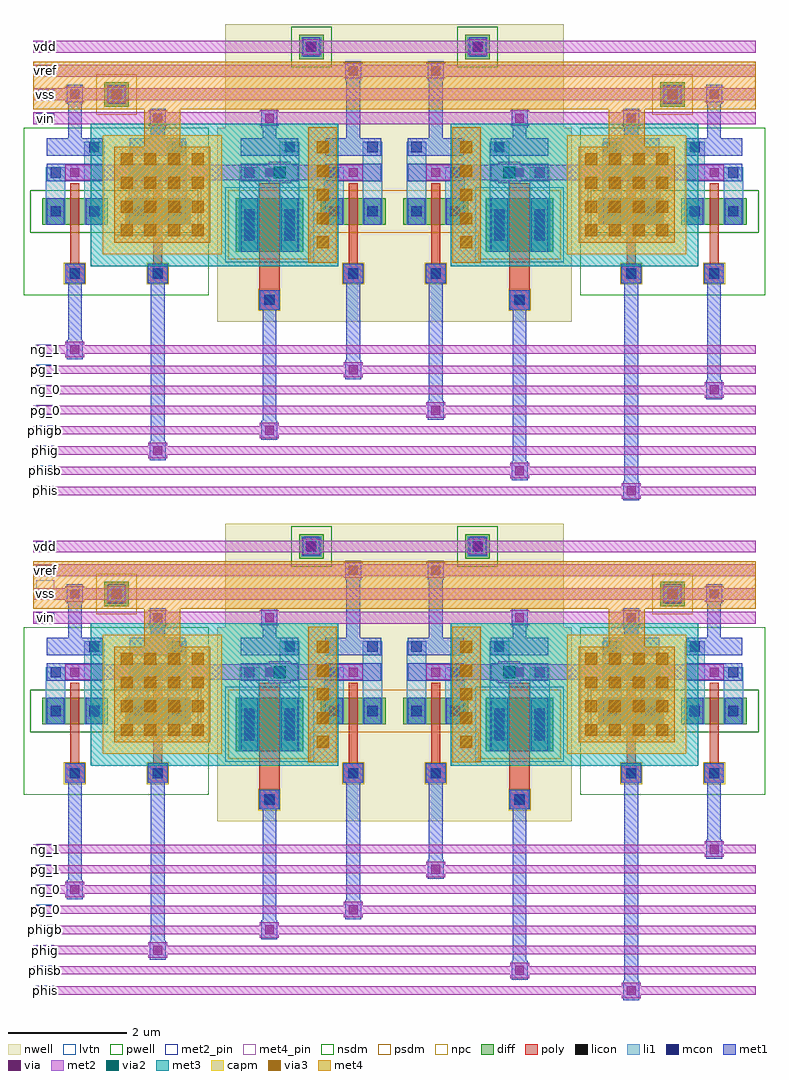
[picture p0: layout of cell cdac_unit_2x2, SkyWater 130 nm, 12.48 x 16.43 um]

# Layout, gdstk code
import gdstk
lib = gdstk.Library(unit=1e-6, precision=5e-09)
def R(c, l, rs):  # rectangles x0, y0, x1, y1
    for r in rs: c.add(gdstk.rectangle(r[:2], r[2:], *l))
def A(c, l, x, y, w, h, nx, ny, dx, dy):  # array of equal rectangles
    R(c, l, [(x+i*dx, y+j*dy, x+i*dx+w, y+j*dy+h) for i in range(nx) for j in range(ny)])
nwell = (64, 20)
pwell = (64, 44)
diff = (65, 20)
poly = (66, 20)
licon = (66, 44)
li1 = (67, 20)
mcon = (67, 44)
met1 = (68, 20)
via = (68, 44)
met2_pin = (69, 16)
met2 = (69, 20)
via2 = (69, 44)
met3 = (70, 20)
via3 = (70, 44)
met4_pin = (71, 16)
met4 = (71, 20)
capm = (89, 44)
nsdm = (93, 44)
psdm = (94, 20)
npc = (95, 20)
lvtn = (125, 44)

cdac_unit_2x2 = lib.new_cell('cdac_unit_2x2')
R(cdac_unit_2x2, nwell, [(3.1,3.1,4.85,6.365), (3.23,3.1,6.08,8.11), (6.08,3.1,8.93,8.11), (7.31,3.1,9.06,6.365), (4.525,3.545,6.245,6.365), (5.915,3.545,7.635,6.365), (3.1,11.51,4.85,14.775), (3.23,11.51,6.08,16.52), (6.08,11.51,8.93,16.52), (7.31,11.51,9.06,14.775), (4.525,11.955,6.245,14.775), (5.915,11.955,7.635,14.775)])
R(cdac_unit_2x2, pwell, [(-0.16,3.545,1.56,6.365), (1.235,3.545,2.955,6.365), (9.205,3.545,10.925,6.365), (10.6,3.545,12.32,6.365), (-0.16,11.955,1.56,14.775), (1.235,11.955,2.955,14.775), (9.205,11.955,10.925,14.775), (10.6,11.955,12.32,14.775)])
R(cdac_unit_2x2, diff, [(3.41,4.28,4.54,5.18), (7.62,4.28,8.75,5.18), (0.15,4.73,1.25,5.18), (1.545,4.73,2.645,5.18), (4.835,4.73,5.935,5.18), (6.225,4.73,7.325,5.18), (9.515,4.73,10.615,5.18), (10.91,4.73,12.01,5.18), (1.195,6.72,1.605,7.13), (10.555,6.72,10.965,7.13), (4.475,7.52,4.885,7.93), (7.275,7.52,7.685,7.93), (3.41,12.69,4.54,13.59), (7.62,12.69,8.75,13.59), (0.15,13.14,1.25,13.59), (1.545,13.14,2.645,13.59), (4.835,13.14,5.935,13.59), (6.225,13.14,7.325,13.59), (9.515,13.14,10.615,13.59), (10.91,13.14,12.01,13.59), (1.195,15.13,1.605,15.54), (10.555,15.13,10.965,15.54), (4.475,15.93,4.885,16.34), (7.275,15.93,7.685,16.34)])
R(cdac_unit_2x2, poly, [(3.8,3.3,4.15,3.63), (3.81,3.3,4.14,3.63), (8.01,3.3,8.36,3.63), (8.02,3.3,8.35,3.63), (3.8,3.63,4.15,4.03), (8.01,3.63,8.36,4.03), (0.535,3.745,0.865,4.075), (0.535,3.745,0.865,4.075), (1.93,3.745,2.26,4.075), (1.93,3.745,2.26,4.075), (5.22,3.745,5.55,4.075), (5.22,3.745,5.55,4.075), (6.61,3.745,6.94,4.075), (6.61,3.745,6.94,4.075), (9.9,3.745,10.23,4.075), (9.9,3.745,10.23,4.075), (11.295,3.745,11.625,4.075), (11.295,3.745,11.625,4.075), (3.8,4.03,4.15,5.43), (8.01,4.03,8.36,5.43), (0.625,4.075,0.775,4.48), (2.02,4.075,2.17,4.48), (5.31,4.075,5.46,4.48), (6.7,4.075,6.85,4.48), (9.99,4.075,10.14,4.48), (11.385,4.075,11.535,4.48), (0.625,4.48,0.775,5.43), (2.02,4.48,2.17,5.43), (5.31,4.48,5.46,5.43), (6.7,4.48,6.85,5.43), (9.99,4.48,10.14,5.43), (11.385,4.48,11.535,5.43), (3.8,11.71,4.15,12.04), (3.81,11.71,4.14,12.04), (8.01,11.71,8.36,12.04), (8.02,11.71,8.35,12.04), (3.8,12.04,4.15,12.44), (8.01,12.04,8.36,12.44), (0.535,12.155,0.865,12.485), (0.535,12.155,0.865,12.485), (1.93,12.155,2.26,12.485), (1.93,12.155,2.26,12.485), (5.22,12.155,5.55,12.485), (5.22,12.155,5.55,12.485), (6.61,12.155,6.94,12.485), (6.61,12.155,6.94,12.485), (9.9,12.155,10.23,12.485), (9.9,12.155,10.23,12.485), (11.295,12.155,11.625,12.485), (11.295,12.155,11.625,12.485), (3.8,12.44,4.15,13.84), (8.01,12.44,8.36,13.84), (0.625,12.485,0.775,12.89), (2.02,12.485,2.17,12.89), (5.31,12.485,5.46,12.89), (6.7,12.485,6.85,12.89), (9.99,12.485,10.14,12.89), (11.385,12.485,11.535,12.89), (0.625,12.89,0.775,13.84), (2.02,12.89,2.17,13.84), (5.31,12.89,5.46,13.84), (6.7,12.89,6.85,13.84), (9.99,12.89,10.14,13.84), (11.385,12.89,11.535,13.84)])
R(cdac_unit_2x2, licon, [(3.89,3.38,4.06,3.55), (8.1,3.38,8.27,3.55), (0.615,3.825,0.785,3.995), (2.01,3.825,2.18,3.995), (5.3,3.825,5.47,3.995), (6.69,3.825,6.86,3.995), (9.98,3.825,10.15,3.995), (11.375,3.825,11.545,3.995), (3.55,4.645,3.72,4.815), (4.23,4.645,4.4,4.815), (7.76,4.645,7.93,4.815), (8.44,4.645,8.61,4.815), (0.29,4.87,0.46,5.04), (0.94,4.87,1.11,5.04), (1.685,4.87,1.855,5.04), (2.335,4.87,2.505,5.04), (4.975,4.87,5.145,5.04), (5.625,4.87,5.795,5.04), (6.365,4.87,6.535,5.04), (7.015,4.87,7.185,5.04), (9.655,4.87,9.825,5.04), (10.305,4.87,10.475,5.04), (11.05,4.87,11.22,5.04), (11.7,4.87,11.87,5.04), (1.315,6.84,1.485,7.01), (10.675,6.84,10.845,7.01), (4.595,7.64,4.765,7.81), (7.395,7.64,7.565,7.81), (3.89,11.79,4.06,11.96), (8.1,11.79,8.27,11.96), (0.615,12.235,0.785,12.405), (2.01,12.235,2.18,12.405), (5.3,12.235,5.47,12.405), (6.69,12.235,6.86,12.405), (9.98,12.235,10.15,12.405), (11.375,12.235,11.545,12.405), (3.55,13.055,3.72,13.225), (4.23,13.055,4.4,13.225), (7.76,13.055,7.93,13.225), (8.44,13.055,8.61,13.225), (0.29,13.28,0.46,13.45), (0.94,13.28,1.11,13.45), (1.685,13.28,1.855,13.45), (2.335,13.28,2.505,13.45), (4.975,13.28,5.145,13.45), (5.625,13.28,5.795,13.45), (6.365,13.28,6.535,13.45), (7.015,13.28,7.185,13.45), (9.655,13.28,9.825,13.45), (10.305,13.28,10.475,13.45), (11.05,13.28,11.22,13.45), (11.7,13.28,11.87,13.45), (1.315,15.25,1.485,15.42), (10.675,15.25,10.845,15.42), (4.595,16.05,4.765,16.22), (7.395,16.05,7.565,16.22)])
R(cdac_unit_2x2, li1, [(3.81,3.3,4.14,3.63), (8.02,3.3,8.35,3.63), (0.535,3.745,0.865,4.075), (1.93,3.745,2.26,4.075), (5.22,3.745,5.55,4.075), (6.61,3.745,6.94,4.075), (9.9,3.745,10.23,4.075), (11.295,3.745,11.625,4.075), (3.47,4.28,3.8,5.18), (4.15,4.28,4.48,5.18), (7.68,4.28,8.01,5.18), (8.36,4.28,8.69,5.18), (3.55,4.465,3.72,4.635), (3.55,4.465,3.72,4.995), (4.23,4.465,4.4,4.635), (4.23,4.465,4.4,4.995), (7.76,4.465,7.93,4.635), (7.76,4.465,7.93,4.995), (8.44,4.465,8.61,4.635), (8.44,4.465,8.61,4.995), (3.47,4.565,3.8,4.895), (4.15,4.565,4.48,4.895), (7.68,4.565,8.01,4.895), (8.36,4.565,8.69,4.895), (0.21,4.73,0.54,5.18), (0.86,4.73,1.19,5.18), (1.605,4.73,1.935,5.18), (2.255,4.73,2.585,5.18), (4.895,4.73,5.225,5.18), (5.545,4.73,5.875,5.18), (6.285,4.73,6.615,5.18), (6.935,4.73,7.265,5.18), (9.575,4.73,9.905,5.18), (10.225,4.73,10.555,5.18), (10.97,4.73,11.3,5.18), (11.62,4.73,11.95,5.18), (0.21,4.79,0.54,5.12), (0.86,4.79,1.19,5.12), (1.605,4.79,1.935,5.12), (2.255,4.79,2.585,5.12), (4.895,4.79,5.225,5.12), (5.545,4.79,5.875,5.12), (6.285,4.79,6.615,5.12), (6.935,4.79,7.265,5.12), (9.575,4.79,9.905,5.12), (10.225,4.79,10.555,5.12), (10.97,4.79,11.3,5.12), (11.62,4.79,11.95,5.12), (3.55,4.825,3.72,4.995), (4.23,4.825,4.4,4.995), (7.76,4.825,7.93,4.995), (8.44,4.825,8.61,4.995), (0.29,4.87,0.46,5.04), (0.29,4.87,0.46,5.04), (0.94,4.87,1.11,5.04), (0.94,4.87,1.11,5.04), (1.685,4.87,1.855,5.04), (1.685,4.87,1.855,5.04), (2.335,4.87,2.505,5.04), (2.335,4.87,2.505,5.04), (4.975,4.87,5.145,5.04), (4.975,4.87,5.145,5.04), (5.625,4.87,5.795,5.04), (5.625,4.87,5.795,5.04), (6.365,4.87,6.535,5.04), (6.365,4.87,6.535,5.04), (7.015,4.87,7.185,5.04), (7.015,4.87,7.185,5.04), (9.655,4.87,9.825,5.04), (9.655,4.87,9.825,5.04), (10.305,4.87,10.475,5.04), (10.305,4.87,10.475,5.04), (11.05,4.87,11.22,5.04), (11.05,4.87,11.22,5.04), (11.7,4.87,11.87,5.04), (11.7,4.87,11.87,5.04), (0.21,5.18,0.54,5.695), (0.86,5.18,1.19,6.125), (1.605,5.18,1.935,5.695), (2.255,5.18,2.585,6.125), (3.47,5.18,3.8,5.695), (4.15,5.18,4.48,6.125), (4.895,5.18,5.225,5.695), (5.545,5.18,5.875,6.125), (6.285,5.18,6.615,6.125), (6.935,5.18,7.265,5.695), (7.68,5.18,8.01,6.125), (8.36,5.18,8.69,5.695), (9.575,5.18,9.905,6.125), (10.225,5.18,10.555,5.695), (10.97,5.18,11.3,6.125), (11.62,5.18,11.95,5.695), (0.29,5.525,0.46,5.695), (1.685,5.525,1.855,5.695), (3.55,5.525,3.72,5.695), (4.975,5.525,5.145,5.695), (7.015,5.525,7.185,5.695), (8.44,5.525,8.61,5.695), (10.305,5.525,10.475,5.695), (11.7,5.525,11.87,5.695), (0.94,5.955,1.11,6.125), (2.335,5.955,2.505,6.125), (4.23,5.955,4.4,6.125), (5.625,5.955,5.795,6.125), (6.365,5.955,6.535,6.125), (7.76,5.955,7.93,6.125), (9.655,5.955,9.825,6.125), (11.05,5.955,11.22,6.125), (1.235,6.76,1.565,7.09), (10.595,6.76,10.925,7.09), (4.515,7.56,4.845,7.89), (7.315,7.56,7.645,7.89), (3.81,11.71,4.14,12.04), (8.02,11.71,8.35,12.04), (0.535,12.155,0.865,12.485), (1.93,12.155,2.26,12.485), (5.22,12.155,5.55,12.485), (6.61,12.155,6.94,12.485), (9.9,12.155,10.23,12.485), (11.295,12.155,11.625,12.485), (3.47,12.69,3.8,13.59), (4.15,12.69,4.48,13.59), (7.68,12.69,8.01,13.59), (8.36,12.69,8.69,13.59), (3.55,12.875,3.72,13.045), (3.55,12.875,3.72,13.405), (4.23,12.875,4.4,13.045), (4.23,12.875,4.4,13.405), (7.76,12.875,7.93,13.045), (7.76,12.875,7.93,13.405), (8.44,12.875,8.61,13.045), (8.44,12.875,8.61,13.405), (3.47,12.975,3.8,13.305), (4.15,12.975,4.48,13.305), (7.68,12.975,8.01,13.305), (8.36,12.975,8.69,13.305), (0.21,13.14,0.54,13.59), (0.86,13.14,1.19,13.59), (1.605,13.14,1.935,13.59), (2.255,13.14,2.585,13.59), (4.895,13.14,5.225,13.59), (5.545,13.14,5.875,13.59), (6.285,13.14,6.615,13.59), (6.935,13.14,7.265,13.59), (9.575,13.14,9.905,13.59), (10.225,13.14,10.555,13.59), (10.97,13.14,11.3,13.59), (11.62,13.14,11.95,13.59), (0.21,13.2,0.54,13.53), (0.86,13.2,1.19,13.53), (1.605,13.2,1.935,13.53), (2.255,13.2,2.585,13.53), (4.895,13.2,5.225,13.53), (5.545,13.2,5.875,13.53), (6.285,13.2,6.615,13.53), (6.935,13.2,7.265,13.53), (9.575,13.2,9.905,13.53), (10.225,13.2,10.555,13.53), (10.97,13.2,11.3,13.53), (11.62,13.2,11.95,13.53), (3.55,13.235,3.72,13.405), (4.23,13.235,4.4,13.405), (7.76,13.235,7.93,13.405), (8.44,13.235,8.61,13.405), (0.29,13.28,0.46,13.45), (0.29,13.28,0.46,13.45), (0.94,13.28,1.11,13.45), (0.94,13.28,1.11,13.45), (1.685,13.28,1.855,13.45), (1.685,13.28,1.855,13.45), (2.335,13.28,2.505,13.45), (2.335,13.28,2.505,13.45), (4.975,13.28,5.145,13.45), (4.975,13.28,5.145,13.45), (5.625,13.28,5.795,13.45), (5.625,13.28,5.795,13.45), (6.365,13.28,6.535,13.45), (6.365,13.28,6.535,13.45), (7.015,13.28,7.185,13.45), (7.015,13.28,7.185,13.45), (9.655,13.28,9.825,13.45), (9.655,13.28,9.825,13.45), (10.305,13.28,10.475,13.45), (10.305,13.28,10.475,13.45), (11.05,13.28,11.22,13.45), (11.05,13.28,11.22,13.45), (11.7,13.28,11.87,13.45), (11.7,13.28,11.87,13.45), (0.21,13.59,0.54,14.105), (0.86,13.59,1.19,14.535), (1.605,13.59,1.935,14.105), (2.255,13.59,2.585,14.535), (3.47,13.59,3.8,14.105), (4.15,13.59,4.48,14.535), (4.895,13.59,5.225,14.105), (5.545,13.59,5.875,14.535), (6.285,13.59,6.615,14.535), (6.935,13.59,7.265,14.105), (7.68,13.59,8.01,14.535), (8.36,13.59,8.69,14.105), (9.575,13.59,9.905,14.535), (10.225,13.59,10.555,14.105), (10.97,13.59,11.3,14.535), (11.62,13.59,11.95,14.105), (0.29,13.935,0.46,14.105), (1.685,13.935,1.855,14.105), (3.55,13.935,3.72,14.105), (4.975,13.935,5.145,14.105), (7.015,13.935,7.185,14.105), (8.44,13.935,8.61,14.105), (10.305,13.935,10.475,14.105), (11.7,13.935,11.87,14.105), (0.94,14.365,1.11,14.535), (2.335,14.365,2.505,14.535), (4.23,14.365,4.4,14.535), (5.625,14.365,5.795,14.535), (6.365,14.365,6.535,14.535), (7.76,14.365,7.93,14.535), (9.655,14.365,9.825,14.535), (11.05,14.365,11.22,14.535), (1.235,15.17,1.565,15.5), (10.595,15.17,10.925,15.5), (4.515,15.97,4.845,16.3), (7.315,15.97,7.645,16.3)])
R(cdac_unit_2x2, mcon, [(3.89,3.38,4.06,3.55), (8.1,3.38,8.27,3.55), (0.615,3.825,0.785,3.995), (2.01,3.825,2.18,3.995), (5.3,3.825,5.47,3.995), (6.69,3.825,6.86,3.995), (9.98,3.825,10.15,3.995), (11.375,3.825,11.545,3.995), (3.55,4.465,3.72,4.635), (4.23,4.465,4.4,4.635), (7.76,4.465,7.93,4.635), (8.44,4.465,8.61,4.635), (3.55,4.825,3.72,4.995), (4.23,4.825,4.4,4.995), (7.76,4.825,7.93,4.995), (8.44,4.825,8.61,4.995), (0.29,4.87,0.46,5.04), (0.94,4.87,1.11,5.04), (1.685,4.87,1.855,5.04), (2.335,4.87,2.505,5.04), (4.975,4.87,5.145,5.04), (5.625,4.87,5.795,5.04), (6.365,4.87,6.535,5.04), (7.015,4.87,7.185,5.04), (9.655,4.87,9.825,5.04), (10.305,4.87,10.475,5.04), (11.05,4.87,11.22,5.04), (11.7,4.87,11.87,5.04), (0.29,5.525,0.46,5.695), (1.685,5.525,1.855,5.695), (3.55,5.525,3.72,5.695), (4.975,5.525,5.145,5.695), (7.015,5.525,7.185,5.695), (8.44,5.525,8.61,5.695), (10.305,5.525,10.475,5.695), (11.7,5.525,11.87,5.695), (0.94,5.955,1.11,6.125), (2.335,5.955,2.505,6.125), (4.23,5.955,4.4,6.125), (5.625,5.955,5.795,6.125), (6.365,5.955,6.535,6.125), (7.76,5.955,7.93,6.125), (9.655,5.955,9.825,6.125), (11.05,5.955,11.22,6.125), (1.315,6.84,1.485,7.01), (10.675,6.84,10.845,7.01), (4.595,7.64,4.765,7.81), (7.395,7.64,7.565,7.81), (3.89,11.79,4.06,11.96), (8.1,11.79,8.27,11.96), (0.615,12.235,0.785,12.405), (2.01,12.235,2.18,12.405), (5.3,12.235,5.47,12.405), (6.69,12.235,6.86,12.405), (9.98,12.235,10.15,12.405), (11.375,12.235,11.545,12.405), (3.55,12.875,3.72,13.045), (4.23,12.875,4.4,13.045), (7.76,12.875,7.93,13.045), (8.44,12.875,8.61,13.045), (3.55,13.235,3.72,13.405), (4.23,13.235,4.4,13.405), (7.76,13.235,7.93,13.405), (8.44,13.235,8.61,13.405), (0.29,13.28,0.46,13.45), (0.94,13.28,1.11,13.45), (1.685,13.28,1.855,13.45), (2.335,13.28,2.505,13.45), (4.975,13.28,5.145,13.45), (5.625,13.28,5.795,13.45), (6.365,13.28,6.535,13.45), (7.015,13.28,7.185,13.45), (9.655,13.28,9.825,13.45), (10.305,13.28,10.475,13.45), (11.05,13.28,11.22,13.45), (11.7,13.28,11.87,13.45), (0.29,13.935,0.46,14.105), (1.685,13.935,1.855,14.105), (3.55,13.935,3.72,14.105), (4.975,13.935,5.145,14.105), (7.015,13.935,7.185,14.105), (8.44,13.935,8.61,14.105), (10.305,13.935,10.475,14.105), (11.7,13.935,11.87,14.105), (0.94,14.365,1.11,14.535), (2.335,14.365,2.505,14.535), (4.23,14.365,4.4,14.535), (5.625,14.365,5.795,14.535), (6.365,14.365,6.535,14.535), (7.76,14.365,7.93,14.535), (9.655,14.365,9.825,14.535), (11.05,14.365,11.22,14.535), (1.315,15.25,1.485,15.42), (10.675,15.25,10.845,15.42), (4.595,16.05,4.765,16.22), (7.395,16.05,7.565,16.22)])
R(cdac_unit_2x2, met1, [(9.93,0.09,10.2,0.41), (9.95,0.25,10.18,3.91), (8.05,0.43,8.32,0.75), (8.07,0.59,8.3,3.47), (1.96,0.77,2.23,1.09), (1.98,0.93,2.21,3.91), (3.84,1.11,4.11,1.43), (3.86,1.265,4.09,3.47), (5.25,1.45,5.52,1.77), (5.27,1.61,5.5,3.91), (0.565,1.79,0.835,2.11), (0.585,1.95,0.815,3.91), (6.64,2.13,6.91,2.45), (6.66,2.29,6.89,3.91), (11.325,2.47,11.595,2.79), (11.345,2.63,11.575,3.91), (3.8,3.3,4.15,3.63), (8.01,3.3,8.36,3.63), (3.83,3.32,4.12,3.61), (8.04,3.32,8.33,3.61), (0.535,3.745,0.865,4.075), (1.93,3.745,2.26,4.075), (5.22,3.745,5.55,4.075), (6.61,3.745,6.94,4.075), (9.9,3.745,10.23,4.075), (11.295,3.745,11.625,4.075), (0.555,3.765,0.845,4.055), (1.95,3.765,2.24,4.055), (5.24,3.765,5.53,4.055), (6.63,3.765,6.92,4.055), (9.92,3.765,10.21,4.055), (11.315,3.765,11.605,4.055), (3.49,4.28,3.78,5.18), (4.17,4.28,4.46,5.18), (7.7,4.28,7.99,5.18), (8.38,4.28,8.67,5.18), (3.49,4.405,3.78,4.695), (4.17,4.405,4.46,4.695), (7.7,4.405,7.99,4.695), (8.38,4.405,8.67,4.695), (0.23,4.73,0.52,5.18), (0.88,4.73,1.17,5.18), (1.625,4.73,1.915,5.18), (2.275,4.73,2.565,5.18), (4.915,4.73,5.205,5.18), (5.565,4.73,5.855,5.18), (6.305,4.73,6.595,5.18), (6.955,4.73,7.245,5.18), (9.595,4.73,9.885,5.18), (10.245,4.73,10.535,5.18), (10.99,4.73,11.28,5.18), (11.64,4.73,11.93,5.18), (3.49,4.765,3.78,5.055), (4.17,4.765,4.46,5.055), (7.7,4.765,7.99,5.055), (8.38,4.765,8.67,5.055), (0.23,4.81,0.52,5.1), (0.88,4.81,1.17,5.1), (1.625,4.81,1.915,5.1), (2.275,4.81,2.565,5.1), (4.915,4.81,5.205,5.1), (5.565,4.81,5.855,5.1), (6.305,4.81,6.595,5.1), (6.955,4.81,7.245,5.1), (9.595,4.81,9.885,5.1), (10.245,4.81,10.535,5.1), (10.99,4.81,11.28,5.1), (11.64,4.81,11.93,5.1), (0.23,5.465,0.52,5.755), (0.23,5.465,1.17,5.755), (1.625,5.465,1.915,5.755), (1.625,5.465,2.565,5.755), (3.49,5.465,3.78,5.755), (3.49,5.465,4.46,5.755), (4.915,5.465,5.205,5.755), (4.915,5.465,5.855,5.755), (6.305,5.465,7.245,5.755), (6.955,5.465,7.245,5.755), (7.7,5.465,8.67,5.755), (8.38,5.465,8.67,5.755), (9.595,5.465,10.535,5.755), (10.245,5.465,10.535,5.755), (10.99,5.465,11.93,5.755), (11.64,5.465,11.93,5.755), (0.54,5.475,0.86,5.745), (1.935,5.475,2.255,5.745), (3.815,5.475,4.135,5.745), (5.225,5.475,5.545,5.745), (6.615,5.475,6.935,5.745), (8.025,5.475,8.345,5.745), (9.905,5.475,10.225,5.745), (11.3,5.475,11.62,5.745), (0.23,5.895,1.17,6.185), (0.88,5.895,1.17,6.185), (1.625,5.895,2.565,6.185), (2.275,5.895,2.565,6.185), (3.49,5.895,4.46,6.185), (4.17,5.895,4.46,6.185), (4.915,5.895,5.855,6.185), (5.565,5.895,5.855,6.185), (6.305,5.895,6.595,6.185), (6.305,5.895,7.245,6.185), (7.7,5.895,7.99,6.185), (7.7,5.895,8.67,6.185), (9.595,5.895,9.885,6.185), (9.595,5.895,10.535,6.185), (10.99,5.895,11.28,6.185), (10.99,5.895,11.93,6.185), (0.585,6.045,0.815,6.925), (1.98,6.045,2.21,6.525), (3.86,6.045,4.09,6.525), (5.27,6.045,5.5,7.325), (6.66,6.045,6.89,7.325), (8.07,6.045,8.3,6.525), (9.95,6.045,10.18,6.525), (11.345,6.045,11.575,6.925), (1.96,6.365,2.23,6.685), (3.84,6.365,4.11,6.685), (8.05,6.365,8.32,6.685), (9.93,6.365,10.2,6.685), (0.565,6.765,0.835,7.085), (1.265,6.765,1.535,7.085), (10.625,6.765,10.895,7.085), (11.325,6.765,11.595,7.085), (1.255,6.78,1.545,7.07), (10.615,6.78,10.905,7.07), (5.25,7.165,5.52,7.485), (6.64,7.165,6.91,7.485), (4.545,7.565,4.815,7.885), (7.345,7.565,7.615,7.885), (4.535,7.58,4.825,7.87), (7.335,7.58,7.625,7.87), (9.93,8.5,10.2,8.82), (9.95,8.66,10.18,12.32), (8.05,8.84,8.32,9.16), (8.07,9,8.3,11.88), (1.96,9.18,2.23,9.5), (1.98,9.34,2.21,12.32), (3.84,9.52,4.11,9.84), (3.86,9.68,4.09,11.88), (6.64,9.86,6.91,10.18), (6.66,10.02,6.89,12.32), (11.325,10.2,11.595,10.52), (11.345,10.36,11.575,12.32), (5.25,10.54,5.52,10.86), (5.27,10.7,5.5,12.32), (0.565,10.88,0.835,11.2), (0.585,11.04,0.815,12.32), (3.8,11.71,4.15,12.04), (8.01,11.71,8.36,12.04), (3.83,11.73,4.12,12.02), (8.04,11.73,8.33,12.02), (0.535,12.155,0.865,12.485), (1.93,12.155,2.26,12.485), (5.22,12.155,5.55,12.485), (6.61,12.155,6.94,12.485), (9.9,12.155,10.23,12.485), (11.295,12.155,11.625,12.485), (0.555,12.175,0.845,12.465), (1.95,12.175,2.24,12.465), (5.24,12.175,5.53,12.465), (6.63,12.175,6.92,12.465), (9.92,12.175,10.21,12.465), (11.315,12.175,11.605,12.465), (3.49,12.69,3.78,13.59), (4.17,12.69,4.46,13.59), (7.7,12.69,7.99,13.59), (8.38,12.69,8.67,13.59), (3.49,12.815,3.78,13.105), (4.17,12.815,4.46,13.105), (7.7,12.815,7.99,13.105), (8.38,12.815,8.67,13.105), (0.23,13.14,0.52,13.59), (0.88,13.14,1.17,13.59), (1.625,13.14,1.915,13.59), (2.275,13.14,2.565,13.59), (4.915,13.14,5.205,13.59), (5.565,13.14,5.855,13.59), (6.305,13.14,6.595,13.59), (6.955,13.14,7.245,13.59), (9.595,13.14,9.885,13.59), (10.245,13.14,10.535,13.59), (10.99,13.14,11.28,13.59), (11.64,13.14,11.93,13.59), (3.49,13.175,3.78,13.465), (4.17,13.175,4.46,13.465), (7.7,13.175,7.99,13.465), (8.38,13.175,8.67,13.465), (0.23,13.22,0.52,13.51), (0.88,13.22,1.17,13.51), (1.625,13.22,1.915,13.51), (2.275,13.22,2.565,13.51), (4.915,13.22,5.205,13.51), (5.565,13.22,5.855,13.51), (6.305,13.22,6.595,13.51), (6.955,13.22,7.245,13.51), (9.595,13.22,9.885,13.51), (10.245,13.22,10.535,13.51), (10.99,13.22,11.28,13.51), (11.64,13.22,11.93,13.51), (0.23,13.875,0.52,14.165), (0.23,13.875,1.17,14.165), (1.625,13.875,1.915,14.165), (1.625,13.875,2.565,14.165), (3.49,13.875,3.78,14.165), (3.49,13.875,4.46,14.165), (4.915,13.875,5.205,14.165), (4.915,13.875,5.855,14.165), (6.305,13.875,7.245,14.165), (6.955,13.875,7.245,14.165), (7.7,13.875,8.67,14.165), (8.38,13.875,8.67,14.165), (9.595,13.875,10.535,14.165), (10.245,13.875,10.535,14.165), (10.99,13.875,11.93,14.165), (11.64,13.875,11.93,14.165), (0.54,13.885,0.86,14.155), (1.935,13.885,2.255,14.155), (3.815,13.885,4.135,14.155), (5.225,13.885,5.545,14.155), (6.615,13.885,6.935,14.155), (8.025,13.885,8.345,14.155), (9.905,13.885,10.225,14.155), (11.3,13.885,11.62,14.155), (0.23,14.305,1.17,14.595), (0.88,14.305,1.17,14.595), (1.625,14.305,2.565,14.595), (2.275,14.305,2.565,14.595), (3.49,14.305,4.46,14.595), (4.17,14.305,4.46,14.595), (4.915,14.305,5.855,14.595), (5.565,14.305,5.855,14.595), (6.305,14.305,6.595,14.595), (6.305,14.305,7.245,14.595), (7.7,14.305,7.99,14.595), (7.7,14.305,8.67,14.595), (9.595,14.305,9.885,14.595), (9.595,14.305,10.535,14.595), (10.99,14.305,11.28,14.595), (10.99,14.305,11.93,14.595), (0.585,14.45,0.815,15.335), (1.98,14.45,2.21,14.935), (3.86,14.45,4.09,14.935), (5.27,14.45,5.5,15.735), (6.66,14.45,6.89,15.735), (8.07,14.45,8.3,14.935), (9.95,14.45,10.18,14.935), (11.345,14.45,11.575,15.335), (1.96,14.775,2.23,15.095), (3.84,14.775,4.11,15.095), (8.05,14.775,8.32,15.095), (9.93,14.775,10.2,15.095), (0.565,15.175,0.835,15.495), (1.265,15.175,1.535,15.495), (10.625,15.175,10.895,15.495), (11.325,15.175,11.595,15.495), (1.255,15.19,1.545,15.48), (10.615,15.19,10.905,15.48), (5.25,15.575,5.52,15.895), (6.64,15.575,6.91,15.895), (4.545,15.975,4.815,16.295), (7.345,15.975,7.615,16.295), (4.535,15.99,4.825,16.28), (7.335,15.99,7.625,16.28)])
R(cdac_unit_2x2, via, [(9.99,0.175,10.14,0.325), (8.11,0.515,8.26,0.665), (2.02,0.855,2.17,1.005), (3.9,1.195,4.05,1.345), (5.31,1.535,5.46,1.685), (0.625,1.875,0.775,2.025), (6.7,2.215,6.85,2.365), (11.385,2.555,11.535,2.705), (0.625,5.535,0.775,5.685), (2.02,5.535,2.17,5.685), (3.9,5.535,4.05,5.685), (5.31,5.535,5.46,5.685), (6.7,5.535,6.85,5.685), (8.11,5.535,8.26,5.685), (9.99,5.535,10.14,5.685), (11.385,5.535,11.535,5.685), (2.02,6.45,2.17,6.6), (3.9,6.45,4.05,6.6), (8.11,6.45,8.26,6.6), (9.99,6.45,10.14,6.6), (0.625,6.85,0.775,7), (1.325,6.85,1.475,7), (10.685,6.85,10.835,7), (11.385,6.85,11.535,7), (5.31,7.25,5.46,7.4), (6.7,7.25,6.85,7.4), (4.605,7.65,4.755,7.8), (7.405,7.65,7.555,7.8), (9.99,8.585,10.14,8.735), (8.11,8.925,8.26,9.075), (2.02,9.265,2.17,9.415), (3.9,9.605,4.05,9.755), (6.7,9.945,6.85,10.095), (11.385,10.285,11.535,10.435), (5.31,10.625,5.46,10.775), (0.625,10.965,0.775,11.115), (0.625,13.945,0.775,14.095), (2.02,13.945,2.17,14.095), (3.9,13.945,4.05,14.095), (5.31,13.945,5.46,14.095), (6.7,13.945,6.85,14.095), (8.11,13.945,8.26,14.095), (9.99,13.945,10.14,14.095), (11.385,13.945,11.535,14.095), (2.02,14.86,2.17,15.01), (3.9,14.86,4.05,15.01), (8.11,14.86,8.26,15.01), (9.99,14.86,10.14,15.01), (0.625,15.26,0.775,15.41), (1.325,15.26,1.475,15.41), (10.685,15.26,10.835,15.41), (11.385,15.26,11.535,15.41), (5.31,15.66,5.46,15.81), (6.7,15.66,6.85,15.81), (4.605,16.06,4.755,16.21), (7.405,16.06,7.555,16.21)])
A(cdac_unit_2x2, met2_pin, 0.05, 0.17, 0.3, 0.16, 1, 8, 0, 0.34)
A(cdac_unit_2x2, met2_pin, 0.05, 6.445, 0.3, 0.16, 1, 4, 0, 0.4)
A(cdac_unit_2x2, met2_pin, 0.05, 8.58, 0.3, 0.16, 1, 8, 0, 0.34)
A(cdac_unit_2x2, met2_pin, 0.05, 14.855, 0.3, 0.16, 1, 4, 0, 0.4)
A(cdac_unit_2x2, met2, 0, 0.18, 6.08, 0.14, 1, 8, 0, 0.34)
A(cdac_unit_2x2, met2, 6.08, 0.18, 6.08, 0.14, 1, 8, 0, 0.34)
A(cdac_unit_2x2, met2, 0, 6.425, 6.08, 0.2, 1, 4, 0, 0.4)
A(cdac_unit_2x2, met2, 6.08, 6.425, 6.08, 0.2, 1, 4, 0, 0.4)
A(cdac_unit_2x2, met2, 0, 8.59, 6.08, 0.14, 1, 8, 0, 0.34)
A(cdac_unit_2x2, met2, 6.08, 8.59, 6.08, 0.14, 1, 8, 0, 0.34)
A(cdac_unit_2x2, met2, 0, 14.835, 6.08, 0.2, 1, 4, 0, 0.4)
A(cdac_unit_2x2, met2, 6.08, 14.835, 6.08, 0.2, 1, 4, 0, 0.4)
R(cdac_unit_2x2, met2, [(9.905,0.12,10.225,0.38), (8.025,0.46,8.345,0.72), (1.935,0.8,2.255,1.06), (3.815,1.14,4.135,1.4), (5.225,1.48,5.545,1.74), (0.54,1.82,0.86,2.08), (6.615,2.16,6.935,2.42), (11.3,2.5,11.62,2.76), (3.965,5.425,4.335,5.795), (7.825,5.425,8.195,5.795), (0.54,5.48,0.86,5.74), (0.545,5.48,5.545,5.74), (1.935,5.48,2.255,5.74), (3.815,5.48,4.135,5.74), (5.225,5.48,5.545,5.74), (6.615,5.48,6.935,5.74), (6.62,5.48,11.62,5.74), (8.025,5.48,8.345,5.74), (9.905,5.48,10.225,5.74), (11.3,5.48,11.62,5.74), (1.935,6.395,2.255,6.655), (3.815,6.395,4.135,6.655), (8.025,6.395,8.345,6.655), (9.905,6.395,10.225,6.655), (0.54,6.795,0.86,7.055), (1.24,6.795,1.56,7.055), (10.6,6.795,10.92,7.055), (11.3,6.795,11.62,7.055), (5.225,7.195,5.545,7.455), (6.615,7.195,6.935,7.455), (4.52,7.595,4.84,7.855), (7.32,7.595,7.64,7.855), (9.905,8.53,10.225,8.79), (8.025,8.87,8.345,9.13), (1.935,9.21,2.255,9.47), (3.815,9.55,4.135,9.81), (6.615,9.89,6.935,10.15), (11.3,10.23,11.62,10.49), (5.225,10.57,5.545,10.83), (0.54,10.91,0.86,11.17), (3.965,13.835,4.335,14.205), (7.825,13.835,8.195,14.205), (0.54,13.89,0.86,14.15), (0.545,13.89,5.545,14.15), (1.935,13.89,2.255,14.15), (3.815,13.89,4.135,14.15), (5.225,13.89,5.545,14.15), (6.615,13.89,6.935,14.15), (6.62,13.89,11.62,14.15), (8.025,13.89,8.345,14.15), (9.905,13.89,10.225,14.15), (11.3,13.89,11.62,14.15), (1.935,14.805,2.255,15.065), (3.815,14.805,4.135,15.065), (8.025,14.805,8.345,15.065), (9.905,14.805,10.225,15.065), (0.54,15.205,0.86,15.465), (1.24,15.205,1.56,15.465), (10.6,15.205,10.92,15.465), (11.3,15.205,11.62,15.465), (5.225,15.605,5.545,15.865), (6.615,15.605,6.935,15.865), (4.52,16.005,4.84,16.265), (7.32,16.005,7.64,16.265)])
R(cdac_unit_2x2, via2, [(4.05,5.51,4.25,5.71), (7.91,5.51,8.11,5.71), (4.05,13.92,4.25,14.12), (7.91,13.92,8.11,14.12)])
R(cdac_unit_2x2, met3, [(0.97,4.035,5.13,6.435), (7.03,4.035,11.19,6.435), (3.9,5.235,4.4,5.615), (7.76,5.235,8.26,5.615), (3.985,5.445,4.315,5.775), (7.845,5.445,8.175,5.775), (0.97,12.445,5.13,14.845), (7.03,12.445,11.19,14.845), (3.9,13.645,4.4,14.025), (7.76,13.645,8.26,14.025), (3.985,13.855,4.315,14.185), (7.845,13.855,8.175,14.185)])
A(cdac_unit_2x2, via3, 4.77, 4.335, 0.2, 0.2, 1, 5, 0, 0.4)
A(cdac_unit_2x2, via3, 7.19, 4.335, 0.2, 0.2, 1, 5, 0, 0.4)
A(cdac_unit_2x2, via3, 1.47, 4.535, 0.2, 0.2, 4, 4, 0.4, 0.4)
A(cdac_unit_2x2, via3, 9.29, 4.535, 0.2, 0.2, 4, 4, 0.4, 0.4)
A(cdac_unit_2x2, via3, 4.77, 12.745, 0.2, 0.2, 1, 5, 0, 0.4)
A(cdac_unit_2x2, via3, 7.19, 12.745, 0.2, 0.2, 1, 5, 0, 0.4)
A(cdac_unit_2x2, via3, 1.47, 12.945, 0.2, 0.2, 4, 4, 0.4, 0.4)
A(cdac_unit_2x2, via3, 9.29, 12.945, 0.2, 0.2, 4, 4, 0.4, 0.4)
R(cdac_unit_2x2, met4_pin, [(0.05,6.995,0.35,7.155)])
R(cdac_unit_2x2, met4, [(4.63,4.095,5.11,6.375), (7.05,4.095,7.53,6.375), (1.365,4.43,2.975,6.04), (9.185,4.43,10.795,6.04), (1.87,5.235,2.47,7.075), (9.69,5.235,10.29,7.075), (0,6.675,6.08,7.475), (6.08,6.675,12.16,7.475), (4.63,12.505,5.11,14.785), (7.05,12.505,7.53,14.785), (1.365,12.84,2.975,14.45), (9.185,12.84,10.795,14.45), (1.87,13.645,2.47,15.485), (9.69,13.645,10.29,15.485), (0,15.085,6.08,15.885), (6.08,15.085,12.16,15.885)])
R(cdac_unit_2x2, capm, [(1.17,4.235,3.17,6.235), (8.99,4.235,10.99,6.235), (1.17,12.645,3.17,14.645), (8.99,12.645,10.99,14.645)])
R(cdac_unit_2x2, nsdm, [(-0.05,4.6,0.12,5.31), (0.02,4.6,1.38,5.31), (1.37,4.6,1.43,5.31), (1.415,4.6,2.775,5.31), (9.385,4.6,10.745,5.31), (10.735,4.6,10.79,5.31), (10.78,4.6,12.14,5.31), (12.04,4.6,12.21,5.31), (4.34,7.385,5.02,8.065), (7.14,7.385,7.82,8.065), (-0.05,13.01,0.12,13.72), (0.02,13.01,1.38,13.72), (1.37,13.01,1.43,13.72), (1.415,13.01,2.775,13.72), (9.385,13.01,10.745,13.72), (10.735,13.01,10.79,13.72), (10.78,13.01,12.14,13.72), (12.04,13.01,12.21,13.72), (4.34,15.795,5.02,16.475), (7.14,15.795,7.82,16.475)])
R(cdac_unit_2x2, psdm, [(3.28,4.15,4.67,5.31), (7.49,4.15,8.88,5.31), (4.66,4.6,4.72,5.31), (4.705,4.6,6.065,5.31), (5.97,4.6,6.13,5.31), (6.035,4.6,6.195,5.31), (6.095,4.6,7.455,5.31), (7.445,4.6,7.505,5.31), (1.06,6.585,1.74,7.265), (10.42,6.585,11.1,7.265), (3.28,12.56,4.67,13.72), (7.49,12.56,8.88,13.72), (4.66,13.01,4.72,13.72), (4.705,13.01,6.065,13.72), (5.97,13.01,6.13,13.72), (6.035,13.01,6.195,13.72), (6.095,13.01,7.455,13.72), (7.445,13.01,7.505,13.72), (1.06,14.995,1.74,15.675), (10.42,14.995,11.1,15.675)])
R(cdac_unit_2x2, npc, [(3.79,3.28,4.16,3.65), (3.79,3.28,4.16,3.65), (8,3.28,8.37,3.65), (8,3.28,8.37,3.65), (0.515,3.725,0.885,4.095), (0.515,3.725,0.885,4.095), (1.91,3.725,2.28,4.095), (1.91,3.725,2.28,4.095), (5.2,3.725,5.57,4.095), (5.2,3.725,5.57,4.095), (6.59,3.725,6.96,4.095), (6.59,3.725,6.96,4.095), (9.88,3.725,10.25,4.095), (9.88,3.725,10.25,4.095), (11.275,3.725,11.645,4.095), (11.275,3.725,11.645,4.095), (3.79,11.69,4.16,12.06), (3.79,11.69,4.16,12.06), (8,11.69,8.37,12.06), (8,11.69,8.37,12.06), (0.515,12.135,0.885,12.505), (0.515,12.135,0.885,12.505), (1.91,12.135,2.28,12.505), (1.91,12.135,2.28,12.505), (5.2,12.135,5.57,12.505), (5.2,12.135,5.57,12.505), (6.59,12.135,6.96,12.505), (6.59,12.135,6.96,12.505), (9.88,12.135,10.25,12.505), (9.88,12.135,10.25,12.505), (11.275,12.135,11.645,12.505), (11.275,12.135,11.645,12.505)])
R(cdac_unit_2x2, lvtn, [(3.23,4.1,4.72,5.36), (7.44,4.1,8.93,5.36), (1.365,4.55,2.825,5.36), (9.335,4.55,10.795,5.36), (3.23,12.51,4.72,13.77), (7.44,12.51,8.93,13.77), (1.365,12.96,2.825,13.77), (9.335,12.96,10.795,13.77)])
cdac_unit_2x2.add(gdstk.Label('phis', (0.2,0.25), layer=69, texttype=5))
cdac_unit_2x2.add(gdstk.Label('phisb', (0.2,0.59), layer=69, texttype=5))
cdac_unit_2x2.add(gdstk.Label('phig', (0.2,0.93), layer=69, texttype=5))
cdac_unit_2x2.add(gdstk.Label('phigb', (0.2,1.27), layer=69, texttype=5))
cdac_unit_2x2.add(gdstk.Label('pg_0', (0.2,1.61), layer=69, texttype=5))
cdac_unit_2x2.add(gdstk.Label('ng_0', (0.2,1.95), layer=69, texttype=5))
cdac_unit_2x2.add(gdstk.Label('pg_1', (0.2,2.29), layer=69, texttype=5))
cdac_unit_2x2.add(gdstk.Label('ng_1', (0.2,2.63), layer=69, texttype=5))
cdac_unit_2x2.add(gdstk.Label('vin', (0.2,6.525), layer=69, texttype=5))
cdac_unit_2x2.add(gdstk.Label('vss', (0.2,6.925), layer=69, texttype=5))
cdac_unit_2x2.add(gdstk.Label('vref', (0.2,7.325), layer=69, texttype=5))
cdac_unit_2x2.add(gdstk.Label('vdd', (0.2,7.725), layer=69, texttype=5))
cdac_unit_2x2.add(gdstk.Label('phis', (0.2,8.66), layer=69, texttype=5))
cdac_unit_2x2.add(gdstk.Label('phisb', (0.2,9), layer=69, texttype=5))
cdac_unit_2x2.add(gdstk.Label('phig', (0.2,9.34), layer=69, texttype=5))
cdac_unit_2x2.add(gdstk.Label('phigb', (0.2,9.68), layer=69, texttype=5))
cdac_unit_2x2.add(gdstk.Label('pg_0', (0.2,10.02), layer=69, texttype=5))
cdac_unit_2x2.add(gdstk.Label('ng_0', (0.2,10.36), layer=69, texttype=5))
cdac_unit_2x2.add(gdstk.Label('pg_1', (0.2,10.7), layer=69, texttype=5))
cdac_unit_2x2.add(gdstk.Label('ng_1', (0.2,11.04), layer=69, texttype=5))
cdac_unit_2x2.add(gdstk.Label('vin', (0.2,14.935), layer=69, texttype=5))
cdac_unit_2x2.add(gdstk.Label('vss', (0.2,15.335), layer=69, texttype=5))
cdac_unit_2x2.add(gdstk.Label('vref', (0.2,15.735), layer=69, texttype=5))
cdac_unit_2x2.add(gdstk.Label('vdd', (0.2,16.135), layer=69, texttype=5))
cdac_unit_2x2.add(gdstk.Label('top', (0.2,7.075), layer=71, texttype=5))

lib.write_gds('cdac_unit_2x2.gds')
